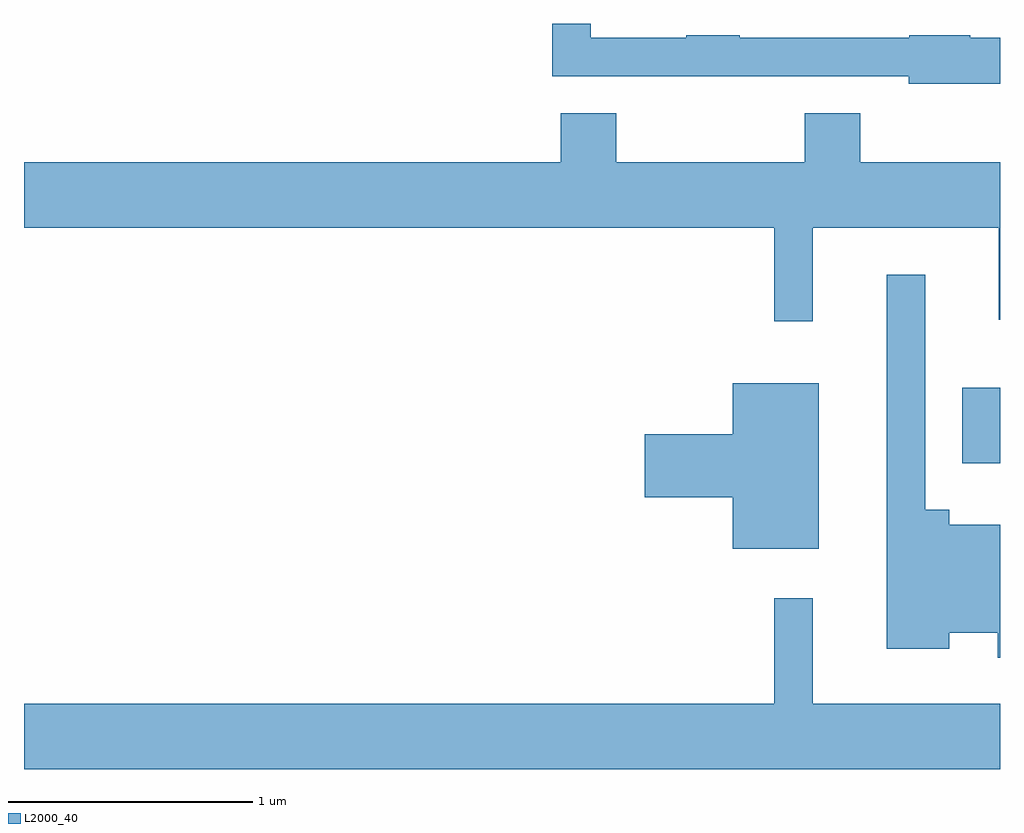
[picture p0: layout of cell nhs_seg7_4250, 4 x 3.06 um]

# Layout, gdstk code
import gdstk
lib = gdstk.Library(unit=1e-6, precision=1e-09)
def R(c, l, rs):  # rectangles x0, y0, x1, y1
    for r in rs: c.add(gdstk.rectangle(r[:2], r[2:], *l))
def P(c, l, *ps):  # polygons
    for p in ps: c.add(gdstk.Polygon(p, *l))
L2000_40 = (2000, 40)

nhs_seg7_4250 = lib.new_cell('nhs_seg7_4250')
R(nhs_seg7_4250, L2000_40, [(319.456,1724.451,319.611,1724.759)])
P(nhs_seg7_4250, L2000_40, [(319.611,1726.194),(319.49,1726.194),(319.49,1726.204),(319.24,1726.204),(319.24,1726.194),(318.545,1726.194),(318.545,1726.204),(318.325,1726.204),(318.325,1726.194),(317.934,1726.194),(317.934,1726.252),(317.776,1726.252),(317.776,1726.036),(319.236,1726.036),(319.236,1726.006),(319.611,1726.006)],
  [(318.686,1725.033),(318.844,1725.033),(318.844,1725.416),(319.606,1725.416),(319.606,1725.038),(319.611,1725.038),(319.611,1725.684),(319.039,1725.684),(319.039,1725.884),(318.811,1725.884),(318.811,1725.684),(318.039,1725.684),(318.039,1725.884),(317.811,1725.884),(317.811,1725.684),(315.611,1725.684),(315.611,1725.416),(318.686,1725.416)],
  [(319.611,1724.199),(319.404,1724.199),(319.404,1724.259),(319.304,1724.259),(319.304,1725.223),(319.146,1725.223),(319.146,1723.691),(319.404,1723.691),(319.404,1723.756),(319.601,1723.756),(319.601,1723.653),(319.611,1723.653)],
  [(318.869,1724.779),(318.516,1724.779),(318.516,1724.569),(318.156,1724.569),(318.156,1724.311),(318.516,1724.311),(318.516,1724.101),(318.869,1724.101)],
  [(319.611,1723.464),(318.844,1723.464),(318.844,1723.898),(318.686,1723.898),(318.686,1723.464),(315.611,1723.464),(315.611,1723.196),(319.611,1723.196)])

lib.write_gds('nhs_seg7_4250.gds')
